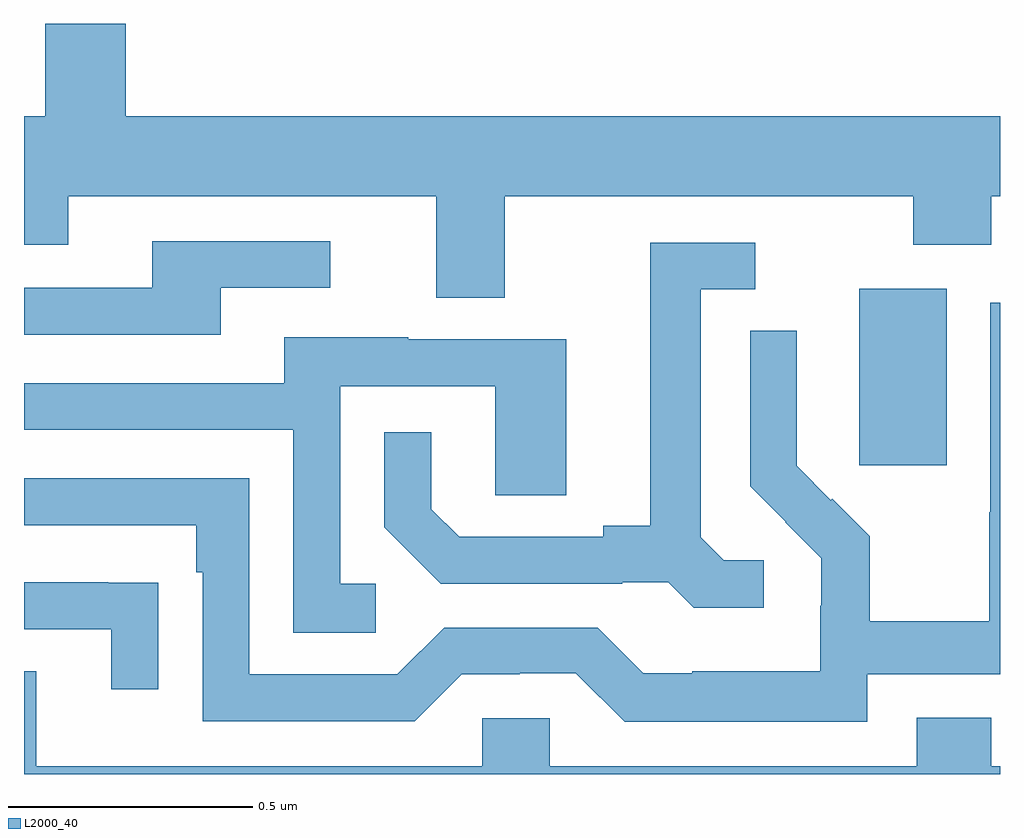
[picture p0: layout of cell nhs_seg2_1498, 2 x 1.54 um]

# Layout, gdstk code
import gdstk
lib = gdstk.Library(unit=1e-6, precision=1e-09)
def R(c, l, rs):  # rectangles x0, y0, x1, y1
    for r in rs: c.add(gdstk.rectangle(r[:2], r[2:], *l))
def P(c, l, *ps):  # polygons
    for p in ps: c.add(gdstk.Polygon(p, *l))
L2000_40 = (2000, 40)

nhs_seg2_1498 = lib.new_cell('nhs_seg2_1498')
R(nhs_seg2_1498, L2000_40, [(130.712,632.433,130.891,632.794)])
P(nhs_seg2_1498, L2000_40, [(129.044,633.337),(129.044,633.148),(129,633.148),(129,632.885),(129.091,632.885),(129.091,632.984),(129.845,632.984),(129.845,632.776),(129.985,632.776),(129.985,632.984),(130.822,632.984),(130.822,632.885),(130.982,632.885),(130.982,632.984),(131,632.984),(131,633.148),(129.208,633.148),(129.208,633.337)],
  [(129.403,632.796),(129.628,632.796),(129.628,632.892),(129.263,632.892),(129.263,632.796),(129,632.796),(129,632.7),(129.403,632.7)],
  [(130.516,632.238),(130.434,632.238),(130.387,632.285),(130.387,632.793),(130.498,632.793),(130.498,632.889),(130.283,632.889),(130.283,632.309),(130.187,632.309),(130.187,632.286),(129.892,632.286),(129.835,632.343),(129.835,632.5),(129.738,632.5),(129.738,632.306),(129.854,632.19),(130.226,632.19),(130.226,632.193),(130.32,632.193),(130.372,632.141),(130.516,632.141)],
  [(130.728,632.004),(131,632.004),(131,632.766),(130.98,632.766),(130.98,632.336),(130.978,632.336),(130.978,632.113),(130.733,632.113),(130.733,632.287),(130.656,632.364),(130.653,632.361),(130.583,632.432),(130.583,632.554),(130.584,632.554),(130.584,632.708),(130.488,632.708),(130.488,632.39),(130.561,632.317),(130.56,632.316),(130.634,632.242),(130.634,632.145),(130.632,632.145),(130.632,632.011),(130.369,632.011),(130.369,632.007),(130.269,632.007),(130.176,632.1),(129.861,632.1),(129.765,632.004),(129.462,632.004),(129.462,632.406),(129,632.406),(129,632.31),(129.353,632.31),(129.353,632.213),(129.366,632.213),(129.366,631.908),(129.801,631.908),(129.897,632.004),(130.016,632.004),(130.016,632.007),(130.131,632.007),(130.231,631.907),(130.728,631.907)],
  [(129.721,632.19),(129.648,632.19),(129.648,632.595),(129.966,632.595),(129.966,632.371),(130.111,632.371),(130.111,632.691),(129.787,632.691),(129.787,632.695),(129.533,632.695),(129.533,632.601),(129,632.601),(129,632.505),(129.552,632.505),(129.552,632.089),(129.721,632.089)],
  [(129.275,632.192),(129.173,632.192),(129.173,632.193),(129,632.193),(129,632.097),(129.179,632.097),(129.179,631.974),(129.275,631.974)],
  [(131,631.816),(130.982,631.816),(130.982,631.915),(130.829,631.915),(130.829,631.816),(130.077,631.816),(130.077,631.914),(129.939,631.914),(129.939,631.816),(129.025,631.816),(129.025,632.011),(129,632.011),(129,631.8),(131,631.8)])

lib.write_gds('nhs_seg2_1498.gds')
